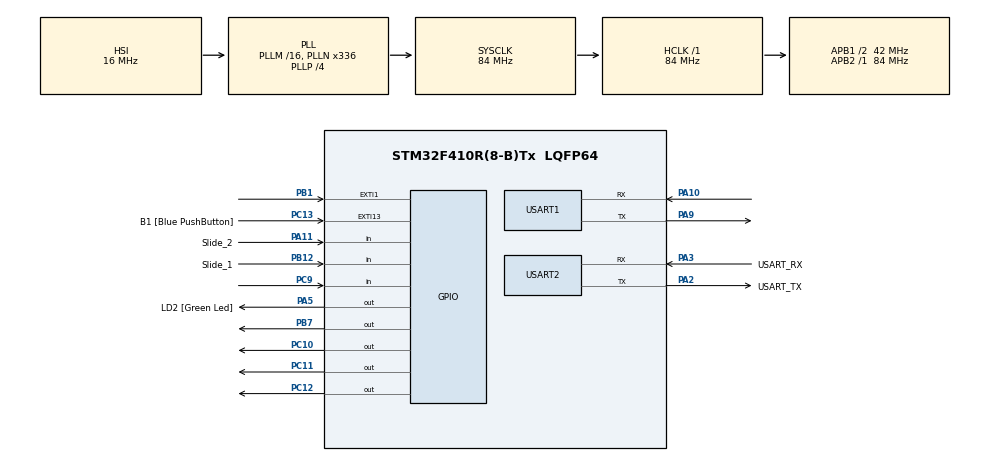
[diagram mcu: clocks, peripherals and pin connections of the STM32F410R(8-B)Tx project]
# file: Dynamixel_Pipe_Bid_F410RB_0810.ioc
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Dma.Request0=USART1_RX
Dma.USART1_RX.0.Direction=DMA_PERIPH_TO_MEMORY
Dma.USART1_RX.0.FIFOMode=DMA_FIFOMODE_DISABLE
Dma.USART1_RX.0.Instance=DMA2_Stream2
Dma.USART1_RX.0.MemDataAlignment=DMA_MDATAALIGN_BYTE
Dma.USART1_RX.0.MemInc=DMA_MINC_ENABLE
Dma.USART1_RX.0.Mode=DMA_NORMAL
Dma.USART1_RX.0.PeriphDataAlignment=DMA_PDATAALIGN_BYTE
Dma.USART1_RX.0.PeriphInc=DMA_PINC_DISABLE
Dma.USART1_RX.0.Priority=DMA_PRIORITY_LOW
Mcu.Family=STM32F4
Mcu.Name=STM32F410R(8-B)Tx
Mcu.Package=LQFP64
NVIC.DMA2_Stream2_IRQn=true\:0\:0\:false\:false\:true\:false\:true\:true
NVIC.EXTI15_10_IRQn=true\:0\:0\:false\:false\:true\:true\:true\:true
NVIC.EXTI1_IRQn=true\:0\:0\:false\:false\:true\:true\:true\:true
NVIC.PriorityGroup=NVIC_PRIORITYGROUP_1
NVIC.TIM1_TRG_COM_TIM11_IRQn=true\:1\:0\:true\:false\:true\:true\:true\:true
NVIC.USART1_IRQn=true\:0\:0\:false\:false\:true\:true\:true\:true
PA10.Mode=Asynchronous
PA10.Signal=USART1_RX
PA11.GPIO_Label=Slide_2
PA11.Signal=GPIO_Input
PA13.GPIO_Label=TMS
PA13.Mode=Serial_Wire
PA13.Signal=SYS_JTMS-SWDIO
PA14.GPIO_Label=TCK
PA14.Mode=Serial_Wire
PA14.Signal=SYS_JTCK-SWCLK
PA2.GPIO_Label=USART_TX
PA2.Mode=Asynchronous
PA2.Signal=USART2_TX
PA3.GPIO_Label=USART_RX
PA3.Mode=Asynchronous
PA3.Signal=USART2_RX
PA5.GPIO_Label=LD2 [Green Led]
PA5.Signal=GPIO_Output
PA9.Mode=Asynchronous
PA9.Signal=USART1_TX
PB1.GPIO_ModeDefaultEXTI=GPIO_MODE_IT_RISING_FALLING
PB1.Signal=GPXTI1
PB12.GPIO_Label=Slide_1
PB12.Signal=GPIO_Input
PB3.GPIO_Label=SWO
PB3.Signal=SYS_JTDO-SWO
PB7.Signal=GPIO_Output
PC10.Signal=GPIO_Output
PC11.Signal=GPIO_Output
PC12.Signal=GPIO_Output
PC13-ANTI_TAMP.GPIO_Label=B1 [Blue PushButton]
PC13-ANTI_TAMP.GPIO_ModeDefaultEXTI=GPIO_MODE_IT_FALLING
PC13-ANTI_TAMP.Signal=GPXTI13
PC14-OSC32_IN.Mode=LSE-External-Oscillator
PC14-OSC32_IN.Signal=RCC_OSC32_IN
PC15-OSC32_OUT.Mode=LSE-External-Oscillator
PC15-OSC32_OUT.Signal=RCC_OSC32_OUT
PC9.Signal=GPIO_Input
PH0\ -\ OSC_IN.Mode=HSE-External-Clock-Source
PH0\ -\ OSC_IN.Signal=RCC_OSC_IN
PH1\ -\ OSC_OUT.Mode=HSE-External-Clock-Source
PH1\ -\ OSC_OUT.Signal=RCC_OSC_OUT
ProjectManager.HeapSize=0x200
ProjectManager.StackSize=0x400
ProjectManager.TargetToolchain=EWARM V8.50
RCC.48MHZClocksFreq_Value=84000000
RCC.AHBFreq_Value=84000000
RCC.APB1CLKDivider=RCC_HCLK_DIV2
RCC.APB1Freq_Value=42000000
RCC.APB1TimFreq_Value=84000000
RCC.APB2Freq_Value=84000000
RCC.APB2TimFreq_Value=84000000
RCC.CortexFreq_Value=84000000
RCC.FLatency-AdvancedSettings=FLASH_LATENCY_2
RCC.HCLKFreq_Value=84000000
RCC.HSE_VALUE=8000000
RCC.HSI_VALUE=16000000
RCC.PLLN=336
RCC.PLLP=RCC_PLLP_DIV4
RCC.SYSCLKFreq_VALUE=84000000
RCC.SYSCLKSource=RCC_SYSCLKSOURCE_PLLCLK
RCC.VCOOutputFreq_Value=336000000
TIM11.Period=99
TIM11.Prescaler=60
USART1.VirtualMode=VM_ASYNC
USART2.VirtualMode=VM_ASYNC
VP_TIM11_VS_ClockSourceINT.Mode=Enable_Timer
board=NUCLEO-F410RB

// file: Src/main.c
/* USER CODE BEGIN Header */
/**
  ******************************************************************************
  * @file           : main.c
  * @brief          : Main program body
  ******************************************************************************
  * @attention
  *
  * Copyright (c) 2022 STMicroelectronics.
  * All rights reserved.
  *
  * This software is licensed under terms that can be found in the LICENSE file
  * in the root directory of this software component.
  * If no LICENSE file comes with this software, it is provided AS-IS.
  *
  ******************************************************************************
  */
/* USER CODE END Header */
#include "main.h"

/* USER CODE BEGIN Includes */
#include "CrcCheck.h"
#include "Dynamixel.h"
#include "Dynamixel.h"
#include "DynamixelControl.h"
#include "DynamixelHandler.h"
#include "DynamixelPacket.h"
#include "DynamixelProtocol.h"
/* USER CODE END Includes */

 TIM_HandleTypeDef htim11;

UART_HandleTypeDef huart1;
UART_HandleTypeDef huart2;
DMA_HandleTypeDef hdma_usart1_rx;

/* USER CODE BEGIN PV */
uint32_t g_uiTim11Cnt = 0;

//Dynamixel
uint8_t g_ucSelectMotor = 0;
uint8_t g_ucSize = 25;
uint8_t g_pucRxBuffer[PACKET_SIZE] = {0, };

int8_t g_cMode = 3;

uint8_t g_ucMotorStateFlag = 0;

int32_t g_iParsingData =0;
int32_t g_uiPosReadTick = 0;
int32_t g_uiPosReadDelay = 150;
int32_t g_iGoalVelUp = 150;
int32_t g_iGoalVelDown = -150;

bool g_bMotorBackFlag = false;
bool g_bPostionReadFlag = false;
bool g_bMotorCompFlag = false;

uint8_t g_ucMotorLimitState = 2;

uint8_t g_ucMotorStFlag = 0;

int32_t g_TargetVel = -50;

int32_t g_iOffeset = 1800;

DynamixelHandler g_dynamixelHandler(&huart1);
Dynamixel g_mapDynamixel[2] = {Dynamixel(&g_dynamixelHandler,5),Dynamixel(&g_dynamixelHandler,6)};

//main Control Flag

uint16_t g_usMainFlag = 7;

uint8_t MotorOpFlag = 0;
uint8_t MotorPreOpFlag = 0;
bool g_bWaitFlag = false;
bool g_bMotorInitFlag = false;
bool g_bMotorOPFlag = false;
bool g_bMotorStopFlag = false;

bool g_bMotorCWFlag = false;
bool g_bMotorCCWFlag = false;
bool g_bMotorStop = false;

bool g_bPhotoFlag = false;

bool g_bMotorFlag1 = false;
bool g_bMotorFlag2 = false;

bool g_bResetFlag = false;
uint8_t g_ucMotorSpeedState =0;

uint32_t g_uiTick =0;
uint32_t g_uiTargetTick =100;
uint32_t g_uiSpeedTick =0;
uint32_t g_uiSpeedTargetTick =400;

int32_t g_iCurPos = 0;
uint8_t g_ucMotState = 0;
uint8_t g_ucPreMotState = 0;

int32_t g_iPosGoal1 =0;
int32_t g_iPosGoal2 =0;

/*-----------------------------*/

//Motor 1번 XM430 포지션 위치 변수

//초기 위치
int32_t g_iInitPos = 3000;

//Slide 1번 위치
int32_t g_iPosGoal1_1 = 10000;
int32_t g_iPosGoal1_2 = 5000;

//Slide 2번 위치
int32_t g_iPosGoal2_1 = 9000;
int32_t g_iPosGoal2_2 = 4000;
/*-----------------------------*/

//Motor 0번 XM530의 그립 위치 변수
int32_t g_iGripPos = -220;
int32_t g_iGripPosOffset = 40;
int32_t g_iGripInitPos = 1500;
int32_t g_iGripOffPos = 1600;

int32_t g_iPosGoalOffset = 3;

int32_t g_iPhotoDelayTick =0;
int32_t g_iPhotoDelayTime = 1000;
bool g_bPhotoDelayFlag = false;
//Switch LED Flag

bool g_bSlide_1 = false;
bool g_bSlide_2 = false;

uint8_t g_ucSlideState = 0;
uint8_t g_ucPreSlideState = 0;

bool g_bLED1_flag = false;
bool g_bLED2_flag = false;
bool g_bLED3_flag = false;

/* USER CODE END PV */

void SystemClock_Config(void);
static void MX_GPIO_Init(void);
static void MX_DMA_Init(void);
static void MX_USART1_UART_Init(void);
static void MX_USART2_UART_Init(void);
static void MX_TIM11_Init(void);

int main(void)
{

  /* MCU Configuration--------------------------------------------------------*/

  /* Reset of all peripherals, Initializes the Flash interface and the Systick. */
  HAL_Init();

  /* Configure the system clock */
  SystemClock_Config();

  /* Initialize all configured peripherals */
  MX_GPIO_Init();
  MX_DMA_Init();
  MX_USART1_UART_Init();
  MX_USART2_UART_Init();
  MX_TIM11_Init();
  /* USER CODE BEGIN 2 */
  HAL_TIM_Base_Start_IT(&htim11);
  HAL_GPIO_WritePin(GPIOC,GPIO_PIN_10,GPIO_PIN_SET);
  HAL_GPIO_WritePin(GPIOC,GPIO_PIN_11,GPIO_PIN_SET);
  HAL_GPIO_WritePin(GPIOC,GPIO_PIN_12,GPIO_PIN_SET);
//  HAL_GPIO_WritePin(GPIOC,GPIO_PIN_10,GPIO_PIN_SET);
  /* USER CODE END 2 */

  /* Infinite loop */
  while (1)
  {

  }
}

void SystemClock_Config(void)
{
  RCC_OscInitTypeDef RCC_OscInitStruct = {0};
  RCC_ClkInitTypeDef RCC_ClkInitStruct = {0};

  /** Configure the main internal regulator output voltage
  */
  __HAL_RCC_PWR_CLK_ENABLE();
  __HAL_PWR_VOLTAGESCALING_CONFIG(PWR_REGULATOR_VOLTAGE_SCALE1);

  /** Initializes the RCC Oscillators according to the specified parameters
  * in the RCC_OscInitTypeDef structure.
  */
  RCC_OscInitStruct.OscillatorType = RCC_OSCILLATORTYPE_HSI;
  RCC_OscInitStruct.HSIState = RCC_HSI_ON;
  RCC_OscInitStruct.HSICalibrationValue = RCC_HSICALIBRATION_DEFAULT;
  RCC_OscInitStruct.PLL.PLLState = RCC_PLL_ON;
  RCC_OscInitStruct.PLL.PLLSource = RCC_PLLSOURCE_HSI;
  RCC_OscInitStruct.PLL.PLLM = 16;
  RCC_OscInitStruct.PLL.PLLN = 336;
  RCC_OscInitStruct.PLL.PLLP = RCC_PLLP_DIV4;
  RCC_OscInitStruct.PLL.PLLQ = 4;
  RCC_OscInitStruct.PLL.PLLR = 2;
  if (HAL_RCC_OscConfig(&RCC_OscInitStruct) != HAL_OK)
  {
    Error_Handler();
  }

  /** Initializes the CPU, AHB and APB buses clocks
  */
  RCC_ClkInitStruct.ClockType = RCC_CLOCKTYPE_HCLK|RCC_CLOCKTYPE_SYSCLK
                              |RCC_CLOCKTYPE_PCLK1|RCC_CLOCKTYPE_PCLK2;
  RCC_ClkInitStruct.SYSCLKSource = RCC_SYSCLKSOURCE_PLLCLK;
  RCC_ClkInitStruct.AHBCLKDivider = RCC_SYSCLK_DIV1;
  RCC_ClkInitStruct.APB1CLKDivider = RCC_HCLK_DIV2;
  RCC_ClkInitStruct.APB2CLKDivider = RCC_HCLK_DIV1;

  if (HAL_RCC_ClockConfig(&RCC_ClkInitStruct, FLASH_LATENCY_2) != HAL_OK)
  {
    Error_Handler();
  }
}

static void MX_TIM11_Init(void)
{

  htim11.Instance = TIM11;
  htim11.Init.Prescaler = 60;
  htim11.Init.CounterMode = TIM_COUNTERMODE_UP;
  htim11.Init.Period = 99;
  htim11.Init.ClockDivision = TIM_CLOCKDIVISION_DIV1;
  htim11.Init.AutoReloadPreload = TIM_AUTORELOAD_PRELOAD_DISABLE;
  if (HAL_TIM_Base_Init(&htim11) != HAL_OK)
  {
    Error_Handler();
  }

}

static void MX_USART1_UART_Init(void)
{

  huart1.Instance = USART1;
  huart1.Init.BaudRate = 115200;
  huart1.Init.WordLength = UART_WORDLENGTH_8B;
  huart1.Init.StopBits = UART_STOPBITS_1;
  huart1.Init.Parity = UART_PARITY_NONE;
  huart1.Init.Mode = UART_MODE_TX_RX;
  huart1.Init.HwFlowCtl = UART_HWCONTROL_NONE;
  huart1.Init.OverSampling = UART_OVERSAMPLING_16;
  if (HAL_UART_Init(&huart1) != HAL_OK)
  {
    Error_Handler();
  }
  /* USER CODE BEGIN USART1_Init 2 */
//HAL_UARTEx_ReceiveToIdle_DMA(&huart1, g_pucRxBuffer, g_ucSize);
  /* USER CODE END USART1_Init 2 */

}

static void MX_USART2_UART_Init(void)
{

  huart2.Instance = USART2;
  huart2.Init.BaudRate = 115200;
  huart2.Init.WordLength = UART_WORDLENGTH_8B;
  huart2.Init.StopBits = UART_STOPBITS_1;
  huart2.Init.Parity = UART_PARITY_NONE;
  huart2.Init.Mode = UART_MODE_TX_RX;
  huart2.Init.HwFlowCtl = UART_HWCONTROL_NONE;
  huart2.Init.OverSampling = UART_OVERSAMPLING_16;
  if (HAL_UART_Init(&huart2) != HAL_OK)
  {
    Error_Handler();
  }

}

static void MX_DMA_Init(void)
{

  /* DMA controller clock enable */
  __HAL_RCC_DMA2_CLK_ENABLE();

  /* DMA interrupt init */
  /* DMA2_Stream2_IRQn interrupt configuration */
  HAL_NVIC_SetPriority(DMA2_Stream2_IRQn, 0, 0);
  HAL_NVIC_EnableIRQ(DMA2_Stream2_IRQn);

}

static void MX_GPIO_Init(void)
{
  GPIO_InitTypeDef GPIO_InitStruct = {0};

  /* GPIO Ports Clock Enable */
  __HAL_RCC_GPIOC_CLK_ENABLE();
  __HAL_RCC_GPIOH_CLK_ENABLE();
  __HAL_RCC_GPIOA_CLK_ENABLE();
  __HAL_RCC_GPIOB_CLK_ENABLE();

  /*Configure GPIO pin Output Level */
  HAL_GPIO_WritePin(LD2_GPIO_Port, LD2_Pin, GPIO_PIN_RESET);

  /*Configure GPIO pin Output Level */
  HAL_GPIO_WritePin(GPIOC, GPIO_PIN_10|GPIO_PIN_11|GPIO_PIN_12, GPIO_PIN_RESET);

  /*Configure GPIO pin Output Level */
  HAL_GPIO_WritePin(GPIOB, GPIO_PIN_7, GPIO_PIN_RESET);

  /*Configure GPIO pin : B1_Pin */
  GPIO_InitStruct.Pin = B1_Pin;
  GPIO_InitStruct.Mode = GPIO_MODE_IT_FALLING;
  GPIO_InitStruct.Pull = GPIO_NOPULL;
  HAL_GPIO_Init(B1_GPIO_Port, &GPIO_InitStruct);

  /*Configure GPIO pin : LD2_Pin */
  GPIO_InitStruct.Pin = LD2_Pin;
  GPIO_InitStruct.Mode = GPIO_MODE_OUTPUT_PP;
  GPIO_InitStruct.Pull = GPIO_NOPULL;
  GPIO_InitStruct.Speed = GPIO_SPEED_FREQ_LOW;
  HAL_GPIO_Init(LD2_GPIO_Port, &GPIO_InitStruct);

  /*Configure GPIO pin : PB1 */
  GPIO_InitStruct.Pin = GPIO_PIN_1;
  GPIO_InitStruct.Mode = GPIO_MODE_IT_RISING_FALLING;
  GPIO_InitStruct.Pull = GPIO_NOPULL;
  HAL_GPIO_Init(GPIOB, &GPIO_InitStruct);

  /*Configure GPIO pin : Slide_1_Pin */
  GPIO_InitStruct.Pin = Slide_1_Pin;
  GPIO_InitStruct.Mode = GPIO_MODE_INPUT;
  GPIO_InitStruct.Pull = GPIO_NOPULL;
  HAL_GPIO_Init(Slide_1_GPIO_Port, &GPIO_InitStruct);

  /*Configure GPIO pin : PC9 */
  GPIO_InitStruct.Pin = GPIO_PIN_9;
  GPIO_InitStruct.Mode = GPIO_MODE_INPUT;
  GPIO_InitStruct.Pull = GPIO_NOPULL;
  HAL_GPIO_Init(GPIOC, &GPIO_InitStruct);

  /*Configure GPIO pin : Slide_2_Pin */
  GPIO_InitStruct.Pin = Slide_2_Pin;
  GPIO_InitStruct.Mode = GPIO_MODE_INPUT;
  GPIO_InitStruct.Pull = GPIO_NOPULL;
  HAL_GPIO_Init(Slide_2_GPIO_Port, &GPIO_InitStruct);

  /*Configure GPIO pins : PC10 PC11 PC12 */
  GPIO_InitStruct.Pin = GPIO_PIN_10|GPIO_PIN_11|GPIO_PIN_12;
  GPIO_InitStruct.Mode = GPIO_MODE_OUTPUT_PP;
  GPIO_InitStruct.Pull = GPIO_NOPULL;
  GPIO_InitStruct.Speed = GPIO_SPEED_FREQ_LOW;
  HAL_GPIO_Init(GPIOC, &GPIO_InitStruct);

  /*Configure GPIO pin : PB7 */
  GPIO_InitStruct.Pin = GPIO_PIN_7;
  GPIO_InitStruct.Mode = GPIO_MODE_OUTPUT_PP;
  GPIO_InitStruct.Pull = GPIO_NOPULL;
  GPIO_InitStruct.Speed = GPIO_SPEED_FREQ_LOW;
  HAL_GPIO_Init(GPIOB, &GPIO_InitStruct);

  /* EXTI interrupt init*/
  HAL_NVIC_SetPriority(EXTI1_IRQn, 0, 0);
  HAL_NVIC_EnableIRQ(EXTI1_IRQn);

  HAL_NVIC_SetPriority(EXTI15_10_IRQn, 0, 0);
  HAL_NVIC_EnableIRQ(EXTI15_10_IRQn);

}

/* USER CODE BEGIN 4 */
void HAL_TIM_PeriodElapsedCallback(TIM_HandleTypeDef *htim){
    if(htim->Instance == TIM11){
      g_uiTim11Cnt++;
      g_bSlide_1 = (HAL_GPIO_ReadPin(GPIOB,GPIO_PIN_12));
      g_bSlide_2 = (HAL_GPIO_ReadPin(GPIOA,GPIO_PIN_11));
      g_ucSlideState = g_bSlide_1 <<1 | g_bSlide_2;
      if(g_ucSlideState != g_ucPreSlideState || g_bResetFlag == false){
        switch(g_ucSlideState){
        case 1:
          HAL_GPIO_WritePin(GPIOC,GPIO_PIN_10,GPIO_PIN_SET);
          HAL_GPIO_WritePin(GPIOC,GPIO_PIN_12,GPIO_PIN_RESET);
          g_iPosGoal1 = g_iPosGoal1_1;
          g_iPosGoal2 = g_iPosGoal1_2;
          break;
        case 2:
          HAL_GPIO_WritePin(GPIOC,GPIO_PIN_10,GPIO_PIN_RESET);
          HAL_GPIO_WritePin(GPIOC,GPIO_PIN_12,GPIO_PIN_SET);
          g_iPosGoal1 = g_iPosGoal2_1;
          g_iPosGoal2 = g_iPosGoal2_2;
          break;
        }
      }
       g_ucPreSlideState = g_ucSlideState;

    if(g_dynamixelHandler.bGetParsingFlag()){
      if(g_dynamixelHandler.bParsingFunction(g_mapDynamixel,g_ucSelectMotor)){
        g_dynamixelHandler.xSetParsingFlag(false);
      }
    }
      if(HAL_GetTick()-g_uiTick > g_uiTargetTick){
        if(HAL_GPIO_ReadPin(GPIOC,GPIO_PIN_8) == GPIO_PIN_RESET){
          if(g_bMotorFlag1 == false){
          g_bMotorOPFlag = true;
          }
        g_uiTick = HAL_GetTick();
        }
      if(HAL_GPIO_ReadPin(GPIOC,GPIO_PIN_9) == GPIO_PIN_RESET){
        if(g_bMotorFlag2 == false){
          g_bMotorStopFlag = true;
        }
        g_uiTick = HAL_GetTick();
        }
      }
      if(g_bPostionReadFlag){
        if(HAL_GetTick() - g_uiPosReadTick > g_uiPosReadDelay){
          g_mapDynamixel[0].ReceiveSyncDxlPacket(PRESENT_POSITION,4,2,5,6);
          g_uiPosReadTick = HAL_GetTick();
        }
      }

      switch(g_usMainFlag){
      case 0:
//        if(HAL_GetTick()-g_uiSpeedTick > 500){
//          g_usMainFlag = 7;
//          g_uiSpeedTick = HAL_GetTick();
//        }
        break;
      case 1:
        g_mapDynamixel[g_ucSelectMotor].Dxl_Ping();
        g_usMainFlag = 0;
        break;
      case 2:
//        HAL_UART_Transmit_IT(&huart1, l_ucTempPackets, 10);
//        g_usMainFlag = 0;
        break;
      case 3:
        break;
      case 4:
        HAL_GPIO_WritePin(GPIOB,GPIO_PIN_14,GPIO_PIN_SET);
        g_mapDynamixel[g_ucSelectMotor].xTransmitDxlWPacket(LED,1,1);
        g_usMainFlag = 0;
        break;
      case 5:
        g_mapDynamixel[g_ucSelectMotor].xTransmitDxlWPacket(LED,0,1);
        g_usMainFlag = 0;
        break;
      case 6:
        switch(g_ucMotorStateFlag){
        case HOMING_INIT:
          g_mapDynamixel[0].xInitDxl(4,1);
          HAL_Delay(5);
          g_mapDynamixel[1].xInitDxl(4,1);
          HAL_Delay(5);
          g_bPostionReadFlag = true;
          g_ucMotorStateFlag = HOMING_FIRST_GOAL_POS;
          break;
        case HOMING_FIRST_GOAL_POS:
          HAL_Delay(2);
          g_mapDynamixel[0].xTransmitDxlWPacket(GOAL_POSITION,g_iGripInitPos,4);
          HAL_Delay(2);
          g_mapDynamixel[1].xTransmitDxlWPacket(GOAL_POSITION,g_iInitPos,4);
          g_ucMotorStateFlag = HOMING_CHECK_PHOTO;
          break;
        case HOMING_CHECK_PHOTO:
          if(g_bPhotoFlag == false){
            if(g_mapDynamixel[0].bGetPhotoFlag()){
              g_iPhotoDelayTick = HAL_GetTick();
              g_ucMotorStateFlag = HOMING_PHOTO_DELAY;
              g_bPhotoFlag = true;
              }
          }
          break;
      case HOMING_PHOTO_DELAY:
        if(HAL_GetTick() -  g_iPhotoDelayTick > g_iPhotoDelayTime){
          HAL_Delay(2);
          g_mapDynamixel[1].xTransmitDxlWPacket(GOAL_POSITION,g_iPosGoal1,4);
          HAL_Delay(2);
          g_ucMotorStateFlag = HOMING_GOTO_POSITION1;
        }
        break;
        case HOMING_GOTO_POSITION1:
          if(abs(g_mapDynamixel[1].iGetPos() - g_iPosGoal1) < g_iPosGoalOffset){
            HAL_Delay(2);
            g_mapDynamixel[0].xTransmitDxlWPacket(GOAL_POSITION,g_iGripPos,4);
            HAL_Delay(2);
            g_ucMotorStateFlag = HOMING_GOTO_HOME;
          }
          break;
        case HOMING_GOTO_HOME:
          if(abs(g_mapDynamixel[0].iGetPos() - g_iGripPos) < g_iGripPosOffset){
            HAL_Delay(2);
            g_mapDynamixel[0].xTransmitDxlWPacket(GOAL_POSITION,g_iGripOffPos,4);
            HAL_Delay(2);
            g_ucMotorStateFlag = HOMING_GOTO_POSITION2;
          }
          break;
        case HOMING_GOTO_POSITION2:
          if(g_mapDynamixel[0].iGetPos() == g_iGripOffPos){
            HAL_Delay(2);
            g_mapDynamixel[1].xTransmitDxlWPacket(GOAL_POSITION,g_iPosGoal2,4);
            HAL_Delay(2);
            g_ucMotorStateFlag = HOMING_CHECK_POSITION2;
          }
          break;
        case HOMING_CHECK_POSITION2:
          if(abs(g_mapDynamixel[1].iGetPos() - g_iPosGoal2) < g_iPosGoalOffset){
            HAL_Delay(2);
            g_mapDynamixel[0].xTransmitDxlWPacket(GOAL_POSITION,g_iGripPos,4);
            HAL_Delay(2);
            g_ucMotorStateFlag = HOMING_GRIP_POSITION2;
          }
          break;
        case HOMING_GRIP_POSITION2:
          if(abs(g_mapDynamixel[0].iGetPos() - g_iGripPos) < g_iGripPosOffset){
            HAL_Delay(2);
            g_mapDynamixel[0].xTransmitDxlWPacket(GOAL_POSITION,g_iGripOffPos,4);
            HAL_Delay(2);
            g_mapDynamixel[1].xTransmitDxlWPacket(GOAL_POSITION,g_iInitPos,4);
            HAL_Delay(2);
            g_ucMotorStateFlag = HOMING_GRIP_INIT;
          }
          break;
        case HOMING_GRIP_INIT:
          if(abs(g_mapDynamixel[0].iGetPos() - g_iGripOffPos) < g_iGripPosOffset){
            HAL_Delay(2);
            g_mapDynamixel[0].xTransmitDxlWPacket(GOAL_POSITION,g_iGripInitPos,4);
            HAL_Delay(2);
            g_ucMotorStateFlag = HOMING_PIPE_TAKE;
          }
          break;
        case HOMING_PIPE_TAKE:
          if(g_mapDynamixel[0].bGetPhotoFlag() == false){
            HAL_Delay(2);
            g_mapDynamixel[0].xTransmitDxlWPacket(GOAL_POSITION,g_iGripInitPos,4);
            HAL_Delay(2);
            g_bPhotoFlag = false;
            g_ucMotorStateFlag = HOMING_CHECK_PHOTO;
          }
          break;
        }
        break;
      case 7:
        if(g_bResetFlag == false){
        g_mapDynamixel[0].xTransmitFacReset(0x02);
        HAL_Delay(5);
        g_mapDynamixel[1].xTransmitFacReset(0x02);
        HAL_Delay(5);
        g_bResetFlag = true;
        g_uiSpeedTick = HAL_GetTick();
        }
        if(g_bResetFlag == true &&HAL_GetTick() - g_uiSpeedTick > 5000){
          g_bResetFlag = false;
          HAL_GPIO_WritePin(GPIOC,GPIO_PIN_11,GPIO_PIN_RESET);
          g_usMainFlag =6;
          g_uiSpeedTick = HAL_GetTick();
        }
        break;
      case 8:
          g_mapDynamixel[0].xTransmitFacReset(0x02);
          g_usMainFlag =0;
          break;
      case 9:
        g_mapDynamixel[1].xTransmitFacReset(0x02);
        g_usMainFlag = 0;
        break;
      case 10:
        g_mapDynamixel[0].xTransmitDxlWPacket(LED,0,1);
        g_usMainFlag = 0;
        break;
      case 11:
        HAL_GPIO_WritePin(GPIOC,GPIO_PIN_10,GPIO_PIN_RESET);
        g_usMainFlag =0;
        break;
      case 12:
        HAL_GPIO_WritePin(GPIOC,GPIO_PIN_11,GPIO_PIN_RESET);
        g_usMainFlag =0;
        break;
      case 13:
                g_mapDynamixel[0].xTransmitFacReset(0x02);
                g_usMainFlag = 0;
                break;
      case 14:
        g_mapDynamixel[0].Dxl_Ping();
        g_usMainFlag = 0;
      case 15:
//        g_mapDynamixel[0].xTransmitDxlWPacket(
        break;
      case 16:
        g_mapDynamixel[0].xTransmitDxlWPacket(GOAL_VELOCITY,g_TargetVel,4);
        g_usMainFlag = 0;
        break;
      case 17:
        g_mapDynamixel[0].xInitDxl(1,1);
        g_usMainFlag = 0;
      break;
      case 18:
         g_mapDynamixel[0].xInitDxl(4,1);
         g_usMainFlag = 0;
         break;
      case 19:
//        g_mapDynamixel[0].xTransmitDxlWPacket(GOAL_POSITION,g_uiDownPos,4);
        g_usMainFlag = 0;
        break;
      case 20:
        g_mapDynamixel[0].xTransmitDxlWPacket(GOAL_POSITION,1600&0xFFFF,4);
        g_usMainFlag = 0;
        break;
      case 21:
        g_mapDynamixel[0].xTransmitDxlRPacket(PRESENT_POSITION,4);
        g_usMainFlag = 0;
        break;
      case 22:
        g_mapDynamixel[0].xTransmitDxlWPacket(TORQUE_ADDR,0,1);
        g_usMainFlag = 0;
        break;
    }
  }
}

void HAL_GPIO_EXTI_Callback(uint16_t GPIO_Pin)
{
  //Right PB10
  if(GPIO_Pin == GPIO_PIN_1){
    bool l_bPhotoOut = HAL_GPIO_ReadPin(GPIOB,GPIO_PIN_1);
    g_mapDynamixel[0].xSetPhotoFlag(l_bPhotoOut);
  }
}

void HAL_UART_TxCpltCallback(UART_HandleTypeDef *huart){
  if(huart->Instance == USART1){
    g_mapDynamixel[g_ucSelectMotor].xSetTxPacketZero();
    g_dynamixelHandler.xSetTxFlag(true);
    HAL_GPIO_WritePin(GPIOB,GPIO_PIN_7,GPIO_PIN_RESET);
    HAL_HalfDuplex_EnableReceiver(&huart1);
    HAL_UARTEx_ReceiveToIdle_DMA(&huart1,g_pucRxBuffer,PACKET_SIZE);
//    HAL_UARTEx_ReceiveToIdle_IT(&huart1,g_pucRxBuffer,PACKET_SIZE);
  }
}

void HAL_UARTEx_RxEventCallback(UART_HandleTypeDef *huart, uint16_t ucSize) {
  g_ucSize = ucSize;
  if(huart->Instance == USART1) {
    g_dynamixelHandler.xSetRxTempPackets(g_pucRxBuffer,ucSize);
    g_dynamixelHandler.xSetParsingFlag(true);
//    HAL_UARTEx_ReceiveToIdle_DMA(huart, g_pucRxBuffer, ucSize);
  }
}
/* USER CODE END 4 */

void Error_Handler(void)
{
  __disable_irq();
  while (1)
  {
  }
}
